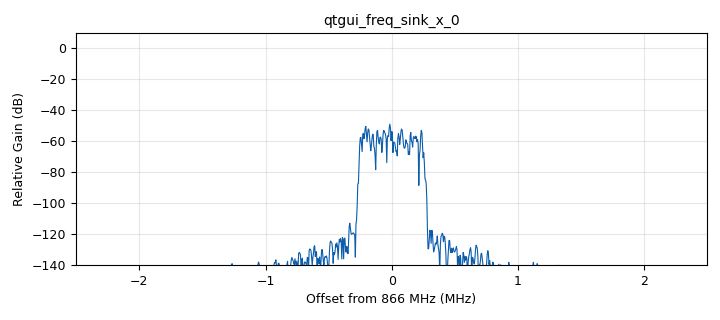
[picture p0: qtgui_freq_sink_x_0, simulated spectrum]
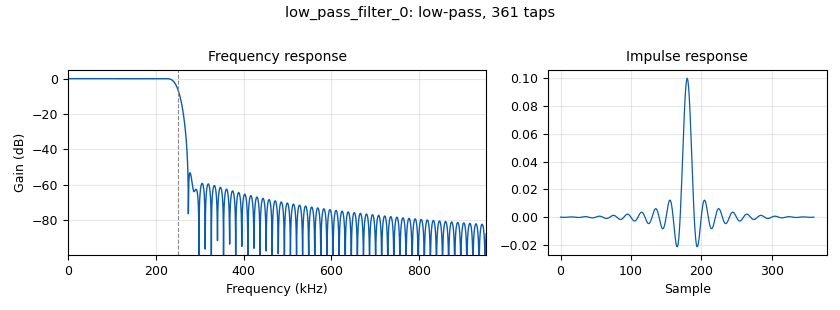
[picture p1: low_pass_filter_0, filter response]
options:
  parameters:
    generate_options: qt_gui
    id: tone_transmit
    output_language: python
    title: Not titled yet
  states: {}

blocks:
- name: amplitude
  id: variable_qtgui_range
  parameters:
    start: '0'
    step: '0.1'
    stop: '5'
    value: '1'
  states: {}
- name: amplitude
  id: variable
  parameters:
    value: '1'
  states: {state: disabled}
- name: frequency_adjust
  id: variable_qtgui_range
  parameters:
    start: '-1e6'
    step: 0.1e6
    stop: +2e6
    value: '0'
  states: {}
- name: gain
  id: variable_qtgui_range
  parameters:
    start: '0'
    step: '1'
    stop: '10'
    value: '0'
  states: {}
- name: gain
  id: variable
  parameters:
    value: '0'
  states: {state: disabled}
- name: generation_rate
  id: variable
  parameters:
    value: samp_rate
  states: {}
- name: noise_mag
  id: variable_qtgui_range
  parameters:
    start: '0'
    step: '0.01'
    stop: '5'
    value: '2'
  states: {}
- name: noise_mag
  id: variable
  parameters:
    value: '1.5'
  states: {state: disabled}
- name: samp_rate
  id: variable
  parameters:
    comment: |-
      Something seems to struggle
      when I set the sample_rate
      too high. Don't know whether
      it is the pluto or my laptop.
    value: int(5e6)
  states: {}
- name: tone_mag
  id: variable_qtgui_range
  parameters:
    start: '0'
    step: '0.01'
    stop: '5'
    value: '5'
  states: {}
- name: tone_mag
  id: variable
  parameters:
    value: '1.5'
  states: {state: disabled}
- name: width
  id: variable
  parameters:
    value: 1e3
  states: {state: disabled}
- name: width
  id: variable_qtgui_range
  parameters:
    start: '0'
    step: '100'
    stop: 2e6
    value: 0.5e6
  states: {}
- name: analog_noise_source_x_0
  id: analog_noise_source_x
  parameters:
    amp: amplitude
    noise_type: analog.GR_GAUSSIAN
    seed: '0'
    type: complex
  states: {}
- name: analog_sig_source_x_0
  id: analog_sig_source_x
  parameters:
    amp: amplitude
    freq: 1e3
    offset: '0'
    phase: '0'
    samp_rate: samp_rate
    type: complex
    waveform: analog.GR_COS_WAVE
  states: {}
- name: blocks_add_xx_0
  id: blocks_add_xx
  parameters:
    type: complex
  states: {}
- name: blocks_multiply_const_vxx_0
  id: blocks_multiply_const_vxx
  parameters:
    const: 10 ** -(noise_mag - 1) if (5 - noise_mag > 0.1) else 0
    type: complex
  states: {}
- name: blocks_multiply_const_vxx_1
  id: blocks_multiply_const_vxx
  parameters:
    const: 10 ** -(tone_mag- 1) if (5 - tone_mag > 0.1) else 0
    type: complex
  states: {}
- name: blocks_throttle2_0
  id: blocks_throttle2
  parameters:
    samples_per_second: generation_rate
    type: complex
  states: {state: bypassed}
- name: iio_pluto_sink_0
  id: iio_pluto_sink
  parameters:
    attenuation1: gain
    bandwidth: int(samp_rate)
    buffer_size: samp_rate
    cyclic: 'False'
    filter_source: '''Auto'''
    frequency: int(866e6 + frequency_adjust)
    samplerate: samp_rate
    type: fc32
    uri: '"ip:192.168.2.1"'
  states: {}
- name: low_pass_filter_0
  id: low_pass_filter
  parameters:
    cutoff_freq: width / 2
    decim: '1'
    gain: '1'
    samp_rate: generation_rate
    type: fir_filter_ccf
    width: width / 15
    win: window.WIN_HAMMING
  states: {}
- name: qtgui_freq_sink_x_0
  id: qtgui_freq_sink_x
  parameters:
    bw: samp_rate
    fc: 866e6 + frequency_adjust
    fftsize: '1024'
    type: complex
  states: {}

connections:
- [analog_noise_source_x_0, '0', blocks_multiply_const_vxx_0, '0']
- [analog_sig_source_x_0, '0', blocks_multiply_const_vxx_1, '0']
- [blocks_add_xx_0, '0', blocks_throttle2_0, '0']
- [blocks_multiply_const_vxx_0, '0', blocks_add_xx_0, '0']
- [blocks_multiply_const_vxx_1, '0', blocks_add_xx_0, '1']
- [blocks_throttle2_0, '0', low_pass_filter_0, '0']
- [low_pass_filter_0, '0', iio_pluto_sink_0, '0']
- [low_pass_filter_0, '0', qtgui_freq_sink_x_0, '0']

metadata:
  file_format: 1
  grc_version: 3.10.10.0
